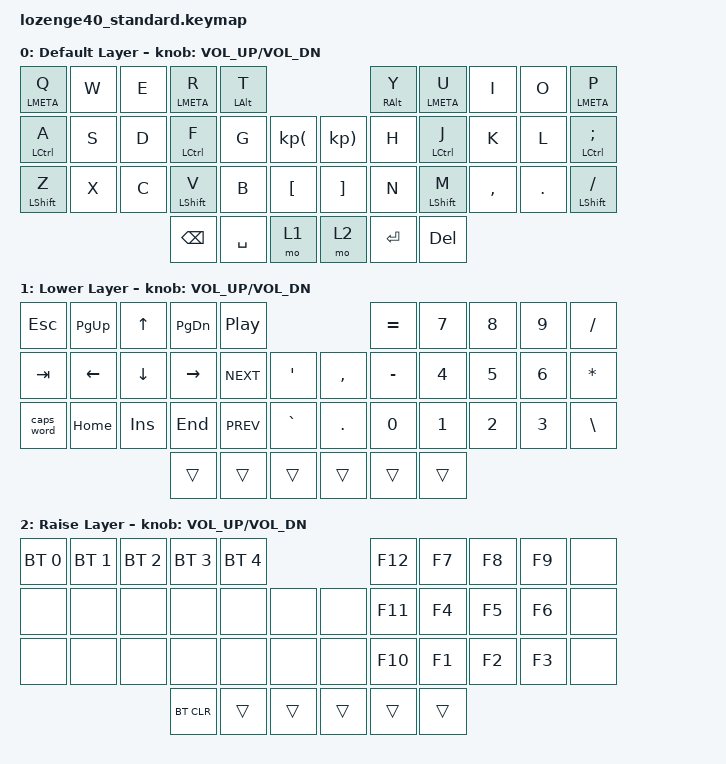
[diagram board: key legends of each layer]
/*
 * Copyright (c) 2020 The ZMK Contributors
 *
 * SPDX-License-Identifier: MIT
 */

#include <behaviors.dtsi>
#include <dt-bindings/zmk/keys.h>
#include <dt-bindings/zmk/bt.h>
#include <dt-bindings/zmk/ext_power.h>

/ {
    behaviors {
        lrpar: lrpar {
            compatible = "zmk,behavior-mod-morph";
            #binding-cells = <0>;
            bindings = <&kp LPAR>, <&kp RPAR>;
            mods = <(MOD_LSFT|MOD_RSFT)>;
        };
        cm: column_mod {
            compatible = "zmk,behavior-hold-tap";
            #binding-cells = <2>;
            flavor = "balanced";
            require-prior-idle-ms = <150>;
            tapping-term-ms = <280>;
            quick-tap-ms = <175>;
            bindings = <&kp>, <&kp>;
        };
    };

    keymap {
        compatible = "zmk,keymap";

        default_layer {
            display-name = "Default Layer";
// ------------------------------------------------------------------------------------------------------------
// |  Q  |  W  |  E   |  R   |  T      |                     |   Y   |  U    |  I    |  O   |   P   |
// |  A  |  S  |  D   |  F   |  G      |    (   |  |    )    |   H   |  J    |  K    |  L   |   ;   |
// |  Z  |  X  |  C   |  V   |  B      |    [   |  |    ]    |   N   |  M    |  ,    |  .   |   /   |
//                    | BKSP |  SPACE  |  LOWER |  |   SHIFT | ENTER | CTRL  |
            bindings = <
&cm LMETA  Q  &kp W  &kp E    &cm LMETA  R    &cm LALT T                        &cm RALT Y   &cm LMETA  U    &kp I     &kp O   &cm LMETA  P
&cm LCTRL  A  &kp S  &kp D    &cm LCTRL  F    &kp G     &kp KP_LPAR &kp KP_RPAR &kp H        &cm LCTRL  J    &kp K     &kp L   &cm LCTRL  SEMI
&cm LSHIFT Z  &kp X  &kp C    &cm LSHIFT V    &kp B     &kp LBKT    &kp RBKT    &kp N        &cm LSHIFT M    &kp COMMA &kp DOT &cm LSHIFT FSLH
                              &kp BSPC        &kp SPACE &mo 1       &mo 2       &kp RET      &kp DEL  
            >;

            sensor-bindings = <&inc_dec_kp C_VOL_UP C_VOL_DN>;
        };

        lower_layer {
            display-name = "Lower Layer";
// ------------------------------------------------------------------------------------------------------------
// | ESC | pgup|  ^   |pgdown|  PP  |                   |  =   |  7    |  8    |  9   |   /   |
// | TAB |  <- |  v   | ->   | NEXT |    '   |  |   .   |  -   |  4    |  5    |  6   |   *   |
// | CAPS| home| INS  | end  | PREV |    `   |  |   ,   |  0   |  1    |  2    |  3   |   \   |
//                    |      |      |        |  |       |      |       |
            bindings = <
&kp ESC     &kp PG_UP  &kp UP    &kp PG_DN  &kp C_PP                         &kp EQUAL  &kp N7  &kp N8  &kp N9  &kp FSLH
&kp TAB     &kp LEFT   &kp DOWN  &kp RIGHT  &kp C_NEXT  &kp SQT    &kp COMMA &kp MINUS  &kp N4  &kp N5  &kp N6  &kp STAR
&caps_word  &kp HOME   &kp INS   &kp END    &kp C_PREV  &kp GRAVE  &kp DOT   &kp N0     &kp N1  &kp N2  &kp N3  &kp BSLH
                                 &trans     &trans      &trans     &trans    &trans     &trans  
            >;

            sensor-bindings = <&inc_dec_kp C_VOL_UP C_VOL_DN>;
        };

        raise_layer {
            display-name = "Raise Layer";
// ------------------------------------------------------------------------------------------------------------
// | BT1 | BT2 | BT3  | BT4  | BT5  |                   |  F12 |  F7   |  F8   |  F9   |       |
// |     |     |      |      |      |        |  |       |  F11 |  F4   |  F5   |  F6   |       |
// |     |     |      |      |      |        |  |       |  F10 |  F1   |  F2   |  F3   |       |
//                    | BTCLR|      |        |  |       |      |       |
            bindings = <
&bt BT_SEL 0  &bt BT_SEL 1  &bt BT_SEL 2  &bt BT_SEL 3  &bt BT_SEL 4                      &kp F12   &kp F7   &kp F8    &kp F9   &none
&none         &none         &none         &none         &none         &none      &none    &kp F11   &kp F4   &kp F5    &kp F6   &none
&none         &none         &none         &none         &none         &none      &none    &kp F10   &kp F1   &kp F2    &kp F3   &none
                                          &bt BT_CLR    &trans        &trans     &trans   &trans    &trans  
            >;

            sensor-bindings = <&inc_dec_kp C_VOL_UP C_VOL_DN>;
        };
    };
};
